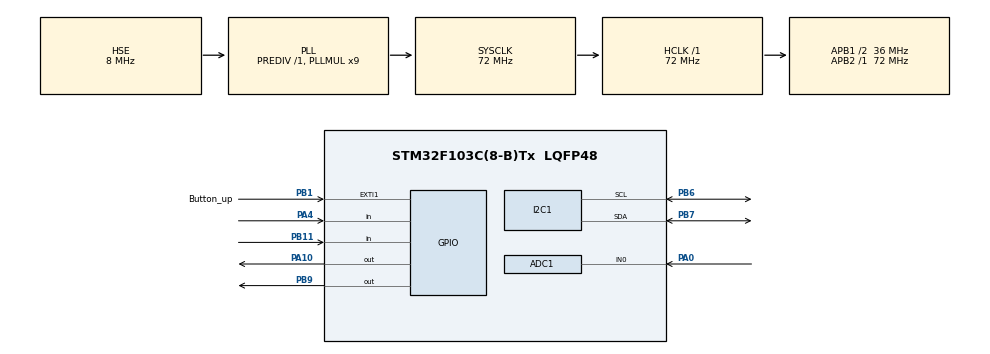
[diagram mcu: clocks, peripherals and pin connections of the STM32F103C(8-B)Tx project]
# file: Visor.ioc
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ADC1.Channel-0\#ChannelRegularConversion=ADC_CHANNEL_0
ADC1.NbrOfConversionFlag=1
ADC1.Rank-0\#ChannelRegularConversion=1
ADC1.SamplingTime-0\#ChannelRegularConversion=ADC_SAMPLETIME_1CYCLE_5
ADC1.master=1
Mcu.Family=STM32F1
Mcu.Name=STM32F103C(8-B)Tx
Mcu.Package=LQFP48
NVIC.EXTI1_IRQn=true\:0\:0\:false\:false\:true\:true\:true\:true
NVIC.PriorityGroup=NVIC_PRIORITYGROUP_4
PA0-WKUP.Signal=ADCx_IN0
PA10.Signal=GPIO_Output
PA13.Mode=Serial_Wire
PA13.Signal=SYS_JTMS-SWDIO
PA14.Mode=Serial_Wire
PA14.Signal=SYS_JTCK-SWCLK
PA4.Signal=GPIO_Input
PB1.GPIO_Label=Button_up
PB1.GPIO_PuPd=GPIO_PULLDOWN
PB1.Signal=GPXTI1
PB11.Signal=GPIO_Input
PB6.Mode=I2C
PB6.Signal=I2C1_SCL
PB7.Mode=I2C
PB7.Signal=I2C1_SDA
PB9.GPIO_ModeDefaultOutputPP=GPIO_MODE_OUTPUT_OD
PB9.GPIO_PuPd=GPIO_PULLUP
PB9.GPIO_Speed=GPIO_SPEED_FREQ_HIGH
PB9.PinState=GPIO_PIN_SET
PB9.Signal=GPIO_Output
PD0-OSC_IN.Mode=HSE-External-Oscillator
PD0-OSC_IN.Signal=RCC_OSC_IN
PD1-OSC_OUT.Mode=HSE-External-Oscillator
PD1-OSC_OUT.Signal=RCC_OSC_OUT
ProjectManager.HeapSize=0x200
ProjectManager.StackSize=0x400
ProjectManager.TargetToolchain=STM32CubeIDE
RCC.AHBFreq_Value=72000000
RCC.APB1CLKDivider=RCC_HCLK_DIV2
RCC.APB1Freq_Value=36000000
RCC.APB1TimFreq_Value=72000000
RCC.APB2Freq_Value=72000000
RCC.APB2TimFreq_Value=72000000
RCC.HCLKFreq_Value=72000000
RCC.PLLMUL=RCC_PLL_MUL9
RCC.PLLSourceVirtual=RCC_PLLSOURCE_HSE
RCC.SYSCLKFreq_VALUE=72000000
RCC.SYSCLKSource=RCC_SYSCLKSOURCE_PLLCLK
RCC.USBFreq_Value=72000000
SH.ADCx_IN0.0=ADC1_IN0,IN0
TIM3.Prescaler=71
VP_TIM3_VS_ClockSourceINT.Mode=Internal
board=custom

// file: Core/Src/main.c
/* USER CODE BEGIN Header */
/**
  ******************************************************************************
  * @file           : main.c
  * @brief          : Main program body
  ******************************************************************************
  * @attention
  *
  * Copyright (c) 2025 STMicroelectronics.
  * All rights reserved.
  *
  * This software is licensed under terms that can be found in the LICENSE file
  * in the root directory of this software component.
  * If no LICENSE file comes with this software, it is provided AS-IS.
  *
  ******************************************************************************
  */
/* USER CODE END Header */
#include "main.h"

/* USER CODE BEGIN Includes */
#include "lcd1602_i2c_lib.h" // library for working with LCD 2004

#include <stdbool.h>
#include <stdio.h>
#include "ds18b20.h" // library for working with ds18b20

#include "flash_storage.h"

/* USER CODE END Includes */

/* USER CODE BEGIN PD */
#define Button_up_Pin       GPIO_PIN_1
#define Button_up_GPIO_Port GPIOB

#define FLASH_USER_START_ADDR  0x0800FC00  // last 1024 bytes

/* USER CODE END PD */

ADC_HandleTypeDef hadc1;

I2C_HandleTypeDef hi2c1;

TIM_HandleTypeDef htim3;

/* USER CODE BEGIN PV */
volatile uint8_t pos_but = 1;
volatile uint32_t last_press_tick = 0;

volatile uint32_t last_press_back = 0;
volatile float temp_limit;

static uint8_t alarm_active = 0;
static uint8_t alarm_muted = 0;

/* USER CODE END PV */

void SystemClock_Config(void);
static void MX_GPIO_Init(void);
static void MX_I2C1_Init(void);
static void MX_TIM3_Init(void);
static void MX_ADC1_Init(void);
/* USER CODE BEGIN PFP */
void Return_To_MainMenu(void);
void Process_MainMenu_Select(void);
void Monitor_Mode(void);
void Settings_Mode(void);

/* USER CODE END PFP */

int main(void)
{

  /* MCU Configuration--------------------------------------------------------*/

  /* Reset of all peripherals, Initializes the Flash interface and the Systick. */
  HAL_Init();

  /* Configure the system clock */
  SystemClock_Config();

  /* Initialize all configured peripherals */
  MX_GPIO_Init();
  MX_I2C1_Init();
  MX_TIM3_Init();
  MX_ADC1_Init();
  /* USER CODE BEGIN 2 */
  HAL_TIM_Base_Start(&htim3);

  HAL_Delay(100);
  lcd1602_Init();
  lcd1602_SetCursor(6, 1);
  lcd1602_Print_text("Monitor");

  lcd1602_SetCursor(6, 2);
  lcd1602_Print_text("Settings");

  if(last_press_back==0) {
	  lcd1602_SetCursor(4, pos_but);
	  lcd1602_Print_text(">");
  }

  if (!Flash_LoadFloat(&temp_limit))
  {
      temp_limit = 22.0f;              // default value
      Flash_SaveFloat(temp_limit);
  }

  uint32_t adc_val;
  char buffer[16];
  /* USER CODE END 2 */

  /* Infinite loop */
  /* USER CODE BEGIN WHILE */
  while (1)
  {
      Process_MainMenu_Select();

    /* USER CODE END WHILE */

  }
}

void SystemClock_Config(void)
{
  RCC_OscInitTypeDef RCC_OscInitStruct = {0};
  RCC_ClkInitTypeDef RCC_ClkInitStruct = {0};
  RCC_PeriphCLKInitTypeDef PeriphClkInit = {0};

  /** Initializes the RCC Oscillators according to the specified parameters
  * in the RCC_OscInitTypeDef structure.
  */
  RCC_OscInitStruct.OscillatorType = RCC_OSCILLATORTYPE_HSE;
  RCC_OscInitStruct.HSEState = RCC_HSE_ON;
  RCC_OscInitStruct.HSEPredivValue = RCC_HSE_PREDIV_DIV1;
  RCC_OscInitStruct.HSIState = RCC_HSI_ON;
  RCC_OscInitStruct.PLL.PLLState = RCC_PLL_ON;
  RCC_OscInitStruct.PLL.PLLSource = RCC_PLLSOURCE_HSE;
  RCC_OscInitStruct.PLL.PLLMUL = RCC_PLL_MUL9;
  if (HAL_RCC_OscConfig(&RCC_OscInitStruct) != HAL_OK)
  {
    Error_Handler();
  }

  /** Initializes the CPU, AHB and APB buses clocks
  */
  RCC_ClkInitStruct.ClockType = RCC_CLOCKTYPE_HCLK|RCC_CLOCKTYPE_SYSCLK
                              |RCC_CLOCKTYPE_PCLK1|RCC_CLOCKTYPE_PCLK2;
  RCC_ClkInitStruct.SYSCLKSource = RCC_SYSCLKSOURCE_PLLCLK;
  RCC_ClkInitStruct.AHBCLKDivider = RCC_SYSCLK_DIV1;
  RCC_ClkInitStruct.APB1CLKDivider = RCC_HCLK_DIV2;
  RCC_ClkInitStruct.APB2CLKDivider = RCC_HCLK_DIV1;

  if (HAL_RCC_ClockConfig(&RCC_ClkInitStruct, FLASH_LATENCY_2) != HAL_OK)
  {
    Error_Handler();
  }
  PeriphClkInit.PeriphClockSelection = RCC_PERIPHCLK_ADC;
  PeriphClkInit.AdcClockSelection = RCC_ADCPCLK2_DIV2;
  if (HAL_RCCEx_PeriphCLKConfig(&PeriphClkInit) != HAL_OK)
  {
    Error_Handler();
  }
}

static void MX_ADC1_Init(void)
{

  ADC_ChannelConfTypeDef sConfig = {0};

  /** Common config
  */
  hadc1.Instance = ADC1;
  hadc1.Init.ScanConvMode = ADC_SCAN_DISABLE;
  hadc1.Init.ContinuousConvMode = DISABLE;
  hadc1.Init.DiscontinuousConvMode = DISABLE;
  hadc1.Init.ExternalTrigConv = ADC_SOFTWARE_START;
  hadc1.Init.DataAlign = ADC_DATAALIGN_RIGHT;
  hadc1.Init.NbrOfConversion = 1;
  if (HAL_ADC_Init(&hadc1) != HAL_OK)
  {
    Error_Handler();
  }

  /** Configure Regular Channel
  */
  sConfig.Channel = ADC_CHANNEL_0;
  sConfig.Rank = ADC_REGULAR_RANK_1;
  sConfig.SamplingTime = ADC_SAMPLETIME_1CYCLE_5;
  if (HAL_ADC_ConfigChannel(&hadc1, &sConfig) != HAL_OK)
  {
    Error_Handler();
  }

}

static void MX_I2C1_Init(void)
{

  hi2c1.Instance = I2C1;
  hi2c1.Init.ClockSpeed = 100000;
  hi2c1.Init.DutyCycle = I2C_DUTYCYCLE_2;
  hi2c1.Init.OwnAddress1 = 0;
  hi2c1.Init.AddressingMode = I2C_ADDRESSINGMODE_7BIT;
  hi2c1.Init.DualAddressMode = I2C_DUALADDRESS_DISABLE;
  hi2c1.Init.OwnAddress2 = 0;
  hi2c1.Init.GeneralCallMode = I2C_GENERALCALL_DISABLE;
  hi2c1.Init.NoStretchMode = I2C_NOSTRETCH_DISABLE;
  if (HAL_I2C_Init(&hi2c1) != HAL_OK)
  {
    Error_Handler();
  }

}

static void MX_TIM3_Init(void)
{

  TIM_ClockConfigTypeDef sClockSourceConfig = {0};
  TIM_MasterConfigTypeDef sMasterConfig = {0};

  htim3.Instance = TIM3;
  htim3.Init.Prescaler = 71;
  htim3.Init.CounterMode = TIM_COUNTERMODE_UP;
  htim3.Init.Period = 65535;
  htim3.Init.ClockDivision = TIM_CLOCKDIVISION_DIV1;
  htim3.Init.AutoReloadPreload = TIM_AUTORELOAD_PRELOAD_DISABLE;
  if (HAL_TIM_Base_Init(&htim3) != HAL_OK)
  {
    Error_Handler();
  }
  sClockSourceConfig.ClockSource = TIM_CLOCKSOURCE_INTERNAL;
  if (HAL_TIM_ConfigClockSource(&htim3, &sClockSourceConfig) != HAL_OK)
  {
    Error_Handler();
  }
  sMasterConfig.MasterOutputTrigger = TIM_TRGO_RESET;
  sMasterConfig.MasterSlaveMode = TIM_MASTERSLAVEMODE_DISABLE;
  if (HAL_TIMEx_MasterConfigSynchronization(&htim3, &sMasterConfig) != HAL_OK)
  {
    Error_Handler();
  }

}

static void MX_GPIO_Init(void)
{
  GPIO_InitTypeDef GPIO_InitStruct = {0};

  /* GPIO Ports Clock Enable */
  __HAL_RCC_GPIOD_CLK_ENABLE();
  __HAL_RCC_GPIOA_CLK_ENABLE();
  __HAL_RCC_GPIOB_CLK_ENABLE();

  /*Configure GPIO pin Output Level */
  HAL_GPIO_WritePin(GPIOA, GPIO_PIN_10, GPIO_PIN_RESET);

  /*Configure GPIO pin Output Level */
  HAL_GPIO_WritePin(GPIOB, GPIO_PIN_9, GPIO_PIN_SET);

  /*Configure GPIO pin : PA4 */
  GPIO_InitStruct.Pin = GPIO_PIN_4;
  GPIO_InitStruct.Mode = GPIO_MODE_INPUT;
  GPIO_InitStruct.Pull = GPIO_NOPULL;
  HAL_GPIO_Init(GPIOA, &GPIO_InitStruct);

  /*Configure GPIO pin : Button_up_Pin */
  GPIO_InitStruct.Pin = Button_up_Pin;
  GPIO_InitStruct.Mode = GPIO_MODE_IT_RISING;
  GPIO_InitStruct.Pull = GPIO_PULLDOWN;
  HAL_GPIO_Init(Button_up_GPIO_Port, &GPIO_InitStruct);

  /*Configure GPIO pin : PB11 */
  GPIO_InitStruct.Pin = GPIO_PIN_11;
  GPIO_InitStruct.Mode = GPIO_MODE_INPUT;
  GPIO_InitStruct.Pull = GPIO_NOPULL;
  HAL_GPIO_Init(GPIOB, &GPIO_InitStruct);

  /*Configure GPIO pin : PA10 */
  GPIO_InitStruct.Pin = GPIO_PIN_10;
  GPIO_InitStruct.Mode = GPIO_MODE_OUTPUT_PP;
  GPIO_InitStruct.Pull = GPIO_NOPULL;
  GPIO_InitStruct.Speed = GPIO_SPEED_FREQ_LOW;
  HAL_GPIO_Init(GPIOA, &GPIO_InitStruct);

  /*Configure GPIO pin : PB9 */
  GPIO_InitStruct.Pin = GPIO_PIN_9;
  GPIO_InitStruct.Mode = GPIO_MODE_OUTPUT_OD;
  GPIO_InitStruct.Pull = GPIO_PULLUP;
  GPIO_InitStruct.Speed = GPIO_SPEED_FREQ_HIGH;
  HAL_GPIO_Init(GPIOB, &GPIO_InitStruct);

  /* EXTI interrupt init*/
  HAL_NVIC_SetPriority(EXTI1_IRQn, 0, 0);
  HAL_NVIC_EnableIRQ(EXTI1_IRQn);

}

/* USER CODE BEGIN 4 */
void HAL_GPIO_EXTI_Callback(uint16_t GPIO_Pin)
{
    if (GPIO_Pin == Button_up_Pin)
    {
        uint32_t now = HAL_GetTick();

        /* debounce 200 ms */
        if ((now - last_press_tick) < 200)
            return;

        last_press_tick = now;

        /* menu logic */
        if (pos_but == 1)
        {
            lcd1602_SetCursor(4, pos_but);
            lcd1602_Print_text(" ");
            pos_but = 2;
        }
        else
        {
            lcd1602_SetCursor(4, pos_but);
            lcd1602_Print_text(" ");
            pos_but = 1;
        }

        if(last_press_back==0) {
        	lcd1602_SetCursor(4, pos_but);
        	lcd1602_Print_text(">");

        }

    }
}

// return to the main menu immediately after navigating to the corresponding item in the main menu
void Return_To_MainMenu(void)
{
    lcd1602_Clean();

    lcd1602_SetCursor(6, 1);
    lcd1602_Print_text("Monitor");

    lcd1602_SetCursor(6, 2);
    lcd1602_Print_text("Settings");

    last_press_back = 0;

    lcd1602_SetCursor(4, pos_but);
    lcd1602_Print_text(">");

    HAL_GPIO_WritePin(GPIOA, GPIO_PIN_10, GPIO_PIN_RESET);

    HAL_Delay(200); // debounce the BACK button
}

void Process_MainMenu_Select(void)
{
    if (HAL_GPIO_ReadPin(GPIOA, GPIO_PIN_4) == GPIO_PIN_SET)
    {
        HAL_Delay(200); // debounce ENTER

        if (pos_but == 1)
        {
            Monitor_Mode();
        }
        else
        {
            Settings_Mode();
        }
    }
}

void Monitor_Mode(void)
{
    lcd1602_Clean();
    lcd1602_SetCursor(6, 0);
    lcd1602_Print_text("Monitor");

    last_press_back = 1;
    alarm_active = 0;
    alarm_muted  = 0;

    while (last_press_back == 1)
    {
        float temp = ds18b20_get_temp(1 << 9);   // PB9

        lcd1602_SetCursor(0, 1);
        char buf[20];
        sprintf(buf, "T = %.2f C   ", temp);
        lcd1602_Print_text(buf);

        /* --- Limit control --- */
        if (temp >= temp_limit)
        {
            alarm_active = 1;

            lcd1602_SetCursor(0, 2);
            lcd1602_Print_text("Temperature limit!");

            if (!alarm_muted)
            {
                HAL_GPIO_TogglePin(GPIOA, GPIO_PIN_10);
            }
        }
        else
        {
            alarm_active = 0;
            alarm_muted  = 0;

            HAL_GPIO_WritePin(GPIOA, GPIO_PIN_10, GPIO_PIN_RESET);

            lcd1602_SetCursor(0, 2);
            lcd1602_Print_text("                    ");
        }

        /* --- Processing the BACK button --- */
        if (HAL_GPIO_ReadPin(GPIOB, GPIO_PIN_11) == GPIO_PIN_SET)
        {
            HAL_Delay(150); // debounce

            if (alarm_active && !alarm_muted)
            {
                // FIRST press — turn off the signal
                alarm_muted = 1;
                HAL_GPIO_WritePin(GPIOA, GPIO_PIN_10, GPIO_PIN_RESET);

                lcd1602_SetCursor(0, 2);
                lcd1602_Print_text("Alarm muted        ");
            }
            else
            {
                // SECOND press — exit
                HAL_GPIO_WritePin(GPIOA, GPIO_PIN_10, GPIO_PIN_RESET);
                Return_To_MainMenu();
            }

            // wait for the button to be released
            while (HAL_GPIO_ReadPin(GPIOB, GPIO_PIN_11) == GPIO_PIN_SET);
        }

        HAL_Delay(200);
    }
}

void Settings_Mode(void)
{
    lcd1602_Clean();
    lcd1602_SetCursor(6, 0);
    lcd1602_Print_text("Settings");

    last_press_back = 1;

    char buf[16];
    sprintf(buf, "Limit: %.1fC", temp_limit);
    lcd1602_SetCursor(0, 1);
    lcd1602_Print_text(buf);

    uint32_t adc_val;
    char buffer[16];

    uint32_t last_adc_tick = 0;

    while (last_press_back == 1)
    {
        /* ADC once per 1000 ms */
        if (HAL_GetTick() - last_adc_tick >= 1000)
        {
            last_adc_tick = HAL_GetTick();

            HAL_ADC_Start(&hadc1);
            if (HAL_ADC_PollForConversion(&hadc1, 10) == HAL_OK)
            {
                adc_val = HAL_ADC_GetValue(&hadc1);
                temp_limit = 0.0f + ((float)adc_val * 60.0f / 4095.0f);

                lcd1602_SetCursor(0, 2);
                lcd1602_Print_text("                ");

                sprintf(buffer, "Change to: %.2f  ", temp_limit);
                lcd1602_SetCursor(0, 2);
                lcd1602_Print_text(buffer);
            }
        }

        /* BACK */
        if (HAL_GPIO_ReadPin(GPIOB, GPIO_PIN_11) == GPIO_PIN_SET)
        {
            last_press_back = 0;
            Return_To_MainMenu();
        }

        /* SAVE */
        if (HAL_GPIO_ReadPin(GPIOA, GPIO_PIN_4) == GPIO_PIN_SET)
        {
            Flash_SaveFloat(temp_limit);

            lcd1602_SetCursor(0, 1);
            lcd1602_Print_text("                ");

            lcd1602_SetCursor(0, 1);
            sprintf(buf, "Limit: %.1fC", temp_limit);
            lcd1602_Print_text(buf);

            while (HAL_GPIO_ReadPin(GPIOA, GPIO_PIN_4) == GPIO_PIN_SET);
            HAL_Delay(50); // debounce
        }
    }
}

/* USER CODE END 4 */

void Error_Handler(void)
{
  __disable_irq();
  while (1)
  {
  }
}
